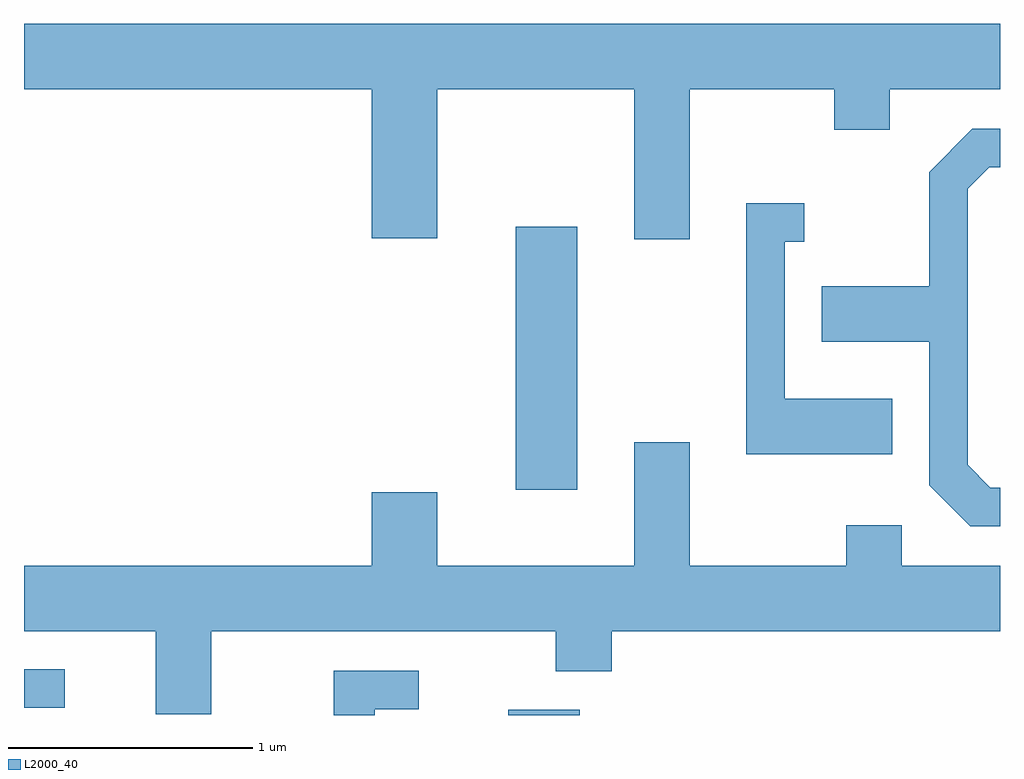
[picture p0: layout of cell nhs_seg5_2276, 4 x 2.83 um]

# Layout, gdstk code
import gdstk
lib = gdstk.Library(unit=1e-6, precision=1e-09)
def R(c, l, rs):  # rectangles x0, y0, x1, y1
    for r in rs: c.add(gdstk.rectangle(r[:2], r[2:], *l))
def P(c, l, *ps):  # polygons
    for p in ps: c.add(gdstk.Polygon(p, *l))
L2000_40 = (2000, 40)

nhs_seg5_2276 = lib.new_cell('nhs_seg5_2276')
R(nhs_seg5_2276, L2000_40, [(255.596,1392.072,255.889,1392.094), (253.611,1392.101,253.778,1392.259), (255.626,1392.996,255.879,1394.074)])
P(nhs_seg5_2276, L2000_40, [(256.339,1394.636),(256.931,1394.636),(256.931,1394.471),(257.159,1394.471),(257.159,1394.636),(257.611,1394.636),(257.611,1394.904),(253.611,1394.904),(253.611,1394.636),(255.036,1394.636),(255.036,1394.026),(255.304,1394.026),(255.304,1394.636),(256.111,1394.636),(256.111,1394.021),(256.339,1394.021)],
  [(257.611,1393.004),(257.572,1393.004),(257.479,1393.097),(257.479,1394.229),(257.567,1394.316),(257.611,1394.316),(257.611,1394.474),(257.498,1394.474),(257.321,1394.297),(257.321,1393.829),(256.881,1393.829),(256.881,1393.601),(257.321,1393.601),(257.321,1393.014),(257.489,1392.846),(257.611,1392.846)],
  [(257.169,1393.369),(256.729,1393.369),(256.729,1394.011),(256.808,1394.011),(256.808,1394.169),(256.571,1394.169),(256.571,1393.141),(257.169,1393.141)],
  [(254.379,1392.416),(255.791,1392.416),(255.791,1392.251),(256.019,1392.251),(256.019,1392.416),(257.611,1392.416),(257.611,1392.684),(257.209,1392.684),(257.209,1392.849),(256.981,1392.849),(256.981,1392.684),(256.339,1392.684),(256.339,1393.189),(256.111,1393.189),(256.111,1392.684),(255.304,1392.684),(255.304,1392.984),(255.036,1392.984),(255.036,1392.684),(253.611,1392.684),(253.611,1392.416),(254.151,1392.416),(254.151,1392.076),(254.379,1392.076)],
  [(255.049,1392.096),(255.228,1392.096),(255.228,1392.254),(254.881,1392.254),(254.881,1392.072),(255.049,1392.072)])

lib.write_gds('nhs_seg5_2276.gds')
